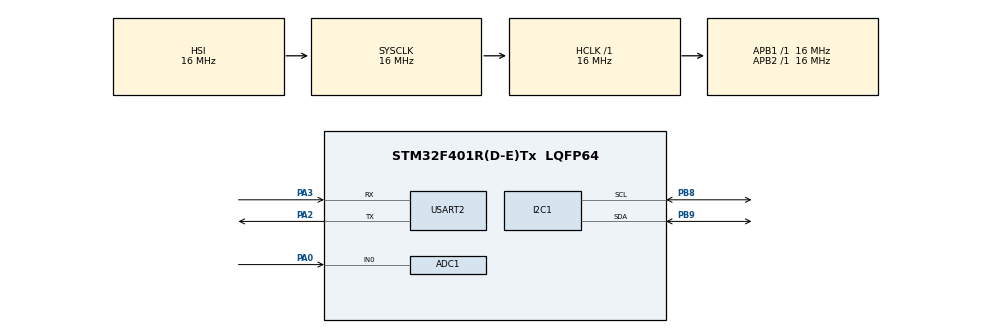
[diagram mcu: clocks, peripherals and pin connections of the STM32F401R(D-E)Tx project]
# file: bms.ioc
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ADC1.Channel-0\#ChannelRegularConversion=ADC_CHANNEL_0
ADC1.NbrOfConversionFlag=1
ADC1.Rank-0\#ChannelRegularConversion=1
ADC1.SamplingTime-0\#ChannelRegularConversion=ADC_SAMPLETIME_3CYCLES
ADC1.master=1
Mcu.Family=STM32F4
Mcu.Name=STM32F401R(D-E)Tx
Mcu.Package=LQFP64
NVIC.PriorityGroup=NVIC_PRIORITYGROUP_4
NVIC.TIM2_IRQn=true\:0\:0\:false\:false\:true\:true\:true\:true
PA0-WKUP.Signal=ADCx_IN0
PA2.Mode=Asynchronous
PA2.Signal=USART2_TX
PA3.Mode=Asynchronous
PA3.Signal=USART2_RX
PB8.Mode=I2C
PB8.Signal=I2C1_SCL
PB9.Mode=I2C
PB9.Signal=I2C1_SDA
ProjectManager.HeapSize=0x200
ProjectManager.StackSize=0x400
ProjectManager.TargetToolchain=STM32CubeIDE
RCC.AHBFreq_Value=16000000
RCC.APB1Freq_Value=16000000
RCC.APB2Freq_Value=16000000
RCC.CortexFreq_Value=16000000
RCC.HSE_VALUE=25000000
RCC.HSI_VALUE=16000000
RCC.LSE_VALUE=32768
RCC.SYSCLKFreq_VALUE=16000000
RCC.VCOOutputFreq_Value=192000000
SH.ADCx_IN0.0=ADC1_IN0,IN0
TIM2.Prescaler=15999
USART2.VirtualMode=VM_ASYNC
VP_TIM2_VS_ClockSourceINT.Mode=Internal
board=custom

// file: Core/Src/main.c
/* USER CODE BEGIN Header */
/**
  ******************************************************************************
  * @file           : main.c
  * @brief          : Main program body - Multi-module BMS with interrupt-driven
  *                    ADC current sensing and flag-based SOC timer updates
  ******************************************************************************
  * @attention
  *
  * Copyright (c) 2026 STMicroelectronics.
  * All rights reserved.
  *
  ******************************************************************************
  */
/* USER CODE END Header */
#include "main.h"

/* USER CODE BEGIN Includes */
#include <string.h>
#include <stdio.h>
/* USER CODE END Includes */

/* USER CODE BEGIN PTD */

/* CHANGE 1: Added __attribute__((packed)) - previously missing here, present
   only on the ATtiny side. This guarantees identical byte layout across the
   ARM and AVR compilers instead of relying on lucky natural alignment. */
typedef struct __attribute__((packed))
{
    uint8_t  start;
    uint8_t  module_id;
    uint16_t cell1_mv;
    uint16_t cell2_mv;
    uint16_t cell3_mv;
    uint16_t temp_x10;
    uint8_t  fault;
    uint8_t  checksum;
} Packet_t;

typedef struct __attribute__((packed))
{
    uint8_t start;
    uint8_t balance_mask;
} BalanceCmd_t;

/* USER CODE END PTD */

/* USER CODE BEGIN PD */

#define NUM_MODULES           2
#define BATTERY_CAPACITY_AH   5.0f
#define BALANCE_THRESHOLD_MV  30
#define SOC_TICK_SECONDS      0.1f   /* must match your actual TIM2 period - see MX_TIM2_Init changes */

/* USER CODE END PD */

ADC_HandleTypeDef hadc1;
I2C_HandleTypeDef hi2c1;
TIM_HandleTypeDef htim2;
UART_HandleTypeDef huart2;

void SystemClock_Config(void);
static void MX_GPIO_Init(void);
static void MX_I2C1_Init(void);
static void MX_USART2_UART_Init(void);
static void MX_ADC1_Init(void);
static void MX_TIM2_Init(void);

/* USER CODE BEGIN PFP */

uint8_t CalculateChecksum(uint8_t *data, uint16_t len)
{
    uint8_t sum = 0;
    for (uint16_t i = 0; i < len; i++)
    {
        sum += data[i];
    }
    return sum;
}

/* CHANGE 6: GetBalanceMask now takes the pre-computed GLOBAL minimum across
   every module, not this module's own local minimum. This fixes the bug
   where a module could look "internally balanced" while being pack-wide
   out of balance relative to other modules. */
uint8_t GetBalanceMask(Packet_t *pkt, uint16_t globalMin)
{
    uint8_t mask = 0;

    if ((pkt->cell1_mv - globalMin) > BALANCE_THRESHOLD_MV)
        mask |= 0x01;

    if ((pkt->cell2_mv - globalMin) > BALANCE_THRESHOLD_MV)
        mask |= 0x02;

    if ((pkt->cell3_mv - globalMin) > BALANCE_THRESHOLD_MV)
        mask |= 0x04;

    return mask;
}

/* USER CODE END PFP */

/* USER CODE BEGIN 0 */

/* CHANGE 2: Arrays instead of single globals, one slot per module. */
uint8_t   moduleAddrs[NUM_MODULES] = {0x10, 0x11};
Packet_t  modulePackets[NUM_MODULES];
uint8_t   moduleValid[NUM_MODULES];

BalanceCmd_t txCmd;
char msg[100];

float batteryCurrent = 0.0f;

/* TODO: soc should be loaded from flash at boot instead of hardcoded 100.0f -
   see our earlier discussion on SOC persistence. Not implemented in this pass;
   flagging so it isn't forgotten. */
float soc = 100.0f;

/* CHANGE 2 (cont): flag/counter for deferred SOC processing, set only inside
   the timer ISR, consumed in the main loop. MUST be volatile - written in an
   ISR, read in main(). */
volatile uint32_t socTickCount = 0;

/* CHANGE 5: ADC interrupt-driven state. Both MUST be volatile for the same
   reason as socTickCount - written in HAL_ADC_ConvCpltCallback (ISR context),
   read in the main loop. */
volatile uint8_t  adcReady = 0;
volatile uint16_t latestAdcValue = 0;

/* USER CODE END 0 */

int main(void)
{

  /* MCU Configuration--------------------------------------------------------*/
  HAL_Init();

  /* CHANGE 3: Removed the premature MX_TIM2_Init() + HAL_TIM_Base_Start_IT()
     pair that used to run here, BEFORE SystemClock_Config(). Starting a timer
     before the clock tree is configured means its prescaler/period math runs
     against the wrong (default/reset) clock speed. The timer is now
     initialized and started only once, after the clock is correctly set up
     and every other peripheral is ready - see below. */

  /* Configure the system clock */
  SystemClock_Config();

  /* Initialize all configured peripherals */
  MX_GPIO_Init();
  MX_I2C1_Init();
  MX_USART2_UART_Init();
  MX_ADC1_Init();
  MX_TIM2_Init();

  /* USER CODE BEGIN 2 */

  /* Timer started once, after clocks + all peripherals are correctly configured. */
  HAL_TIM_Base_Start_IT(&htim2);

  /* CHANGE 3 (cont): ADC armed once here - this is the "prime the pump" call.
     Single-conversion mode (ContinuousConvMode stays DISABLE in
     MX_ADC1_Init), software-triggered, interrupt-driven completion. The next
     conversion is only re-armed manually, from inside the main loop, after
     each result is consumed - see the adcReady block below. */
  HAL_ADC_Start_IT(&hadc1);

  /* USER CODE END 2 */

  /* Infinite loop */
  while (1)
  {

    /* ============================================================
       ADC: non-blocking. Only does work when a conversion has
       actually completed (adcReady set by the ISR). Re-arms the
       next conversion right after consuming the result - never
       called unconditionally, since the ADC must finish its
       current conversion before Start_IT() can safely be called
       again in single-conversion mode.
       ============================================================ */
    if (adcReady)
    {
        adcReady = 0;

        float voltage = (latestAdcValue * 3.3f) / 4095.0f;
        batteryCurrent = voltage / 0.01f;   /* shunt + INA180 gain bundled into this constant */

        HAL_ADC_Start_IT(&hadc1);   /* re-arm next conversion */
    }

    /* ============================================================
       I2C: PHASE 1 - GATHER
       Poll every module before deciding anything. Stays blocking -
       this is a deliberate choice, not an oversight: the loop's
       control flow is inherently sequential (need data from all
       modules before a balancing decision can be made), so
       interrupt-driving I2C here would require a state machine for
       no real benefit at this module count / loop rate.
       ============================================================ */
    for (uint8_t i = 0; i < NUM_MODULES; i++)
    {
        uint8_t buf[sizeof(Packet_t)];

        HAL_StatusTypeDef status = HAL_I2C_Master_Receive(
            &hi2c1,
            (moduleAddrs[i] << 1),
            buf,
            sizeof(Packet_t),
            100);

        if (status == HAL_OK)
        {
            Packet_t temp;
            memcpy(&temp, buf, sizeof(Packet_t));

            uint8_t crc = CalculateChecksum(buf, sizeof(Packet_t) - 1);

            if (crc == temp.checksum)
            {
                modulePackets[i] = temp;
                moduleValid[i] = 1;

                sprintf(msg, "M%d: ID=%d C1=%dmV C2=%dmV C3=%dmV Temp=%d\r\n",
                        i,
                        temp.module_id,
                        temp.cell1_mv,
                        temp.cell2_mv,
                        temp.cell3_mv,
                        temp.temp_x10);
                HAL_UART_Transmit(&huart2, (uint8_t*)msg, strlen(msg), 100);
            }
            else
            {
                moduleValid[i] = 0;   /* checksum mismatch - don't trust this round's data */
            }
        }
        else
        {
            moduleValid[i] = 0;   /* no response / timeout - don't trust this round's data */
        }
    }

    /* ============================================================
       PHASE 2 - DECIDE
       Find the true global minimum cell voltage across every
       module that reported valid data this round. This is the fix
       for the "each module only compares against its own local
       minimum" bug - without this, uniformly-high modules would
       never balance even if genuinely high relative to the pack.
       ============================================================ */
    uint16_t globalMin = 0xFFFF;
    uint8_t anyValid = 0;

    for (uint8_t i = 0; i < NUM_MODULES; i++)
    {
        if (!moduleValid[i]) continue;

        anyValid = 1;

        if (modulePackets[i].cell1_mv < globalMin) globalMin = modulePackets[i].cell1_mv;
        if (modulePackets[i].cell2_mv < globalMin) globalMin = modulePackets[i].cell2_mv;
        if (modulePackets[i].cell3_mv < globalMin) globalMin = modulePackets[i].cell3_mv;
    }

    /* ============================================================
       PHASE 3 - COMMAND
       Send each module its mask relative to the global minimum.
       Fail-safe: any module whose data wasn't valid this round
       gets mask = 0 (no balancing) rather than acting on stale or
       untrusted data - this fixes the original bug where
       GetBalanceMask ran unconditionally every loop regardless of
       I2C/checksum status.
       ============================================================ */
    for (uint8_t i = 0; i < NUM_MODULES; i++)
    {
        uint8_t mask = 0;

        if (anyValid && moduleValid[i])
        {
            mask = GetBalanceMask(&modulePackets[i], globalMin);
        }

        txCmd.start = 0xAA;
        txCmd.balance_mask = mask;

        HAL_I2C_Master_Transmit(
            &hi2c1,
            (moduleAddrs[i] << 1),
            (uint8_t*)&txCmd,
            sizeof(BalanceCmd_t),
            100);

        sprintf(msg, "M%d: Mask=0x%02X Valid=%d\r\n", i, mask, moduleValid[i]);
        HAL_UART_Transmit(&huart2, (uint8_t*)msg, strlen(msg), 100);
    }

    /* ============================================================
       SOC: deferred processing. The timer ISR only increments
       socTickCount (see HAL_TIM_PeriodElapsedCallback below) - all
       the actual math happens here, in the interruptible main loop.

       Read-and-clear is wrapped in __disable_irq()/__enable_irq()
       to make it atomic: reading socTickCount and clearing it are
       two separate operations, and without this guard a timer tick
       landing exactly between them would be silently lost. This is
       a very short critical section (a few instructions), not a
       long block - safe to briefly disable interrupts here.

       Backlog is collapsed into a single lump-sum calculation
       (ticks * SOC_TICK_SECONDS) using the current instantaneous
       batteryCurrent, rather than a loop of repeated subtraction.
       This assumes current was roughly constant across the backlog
       window - an approximation that's reasonable when backlogs
       are small (expected here, since I2C timeouts are bounded and
       loop time is well under the 100ms tick period in the normal
       case), but degrades if backlogs grow large. A more precise
       fix would snapshot batteryCurrent per-tick inside the timer
       ISR itself - not implemented here to keep this at the
       complexity level we agreed on, but worth naming if asked.
       ============================================================ */
    if (socTickCount > 0)
    {
        __disable_irq();
        uint32_t ticks = socTickCount;
        socTickCount = 0;
        __enable_irq();

        soc -= (batteryCurrent * (ticks * SOC_TICK_SECONDS))
               / (BATTERY_CAPACITY_AH * 3600.0f)
               * 100.0f;

        if (soc < 0)   soc = 0;
        if (soc > 100) soc = 100;
    }

    /* CHANGE 7: The mid-loop HAL_Delay(100) has been removed. It's no longer
       needed for SOC timing pacing now that the timer ISR handles that
       independently via socTickCount. Loop cadence is now bounded by the
       I2C transactions' own timeouts (100ms each, times NUM_MODULES reads
       and writes) rather than an explicit delay. If you want a deliberate
       minimum loop period for any other reason (e.g. rate-limiting UART
       traffic), reintroduce a non-blocking millis()-style check here rather
       than a blocking HAL_Delay. */

  }
}

void SystemClock_Config(void)
{
  RCC_OscInitTypeDef RCC_OscInitStruct = {0};
  RCC_ClkInitTypeDef RCC_ClkInitStruct = {0};

  __HAL_RCC_PWR_CLK_ENABLE();
  __HAL_PWR_VOLTAGESCALING_CONFIG(PWR_REGULATOR_VOLTAGE_SCALE2);

  RCC_OscInitStruct.OscillatorType = RCC_OSCILLATORTYPE_HSI;
  RCC_OscInitStruct.HSIState = RCC_HSI_ON;
  RCC_OscInitStruct.HSICalibrationValue = RCC_HSICALIBRATION_DEFAULT;
  RCC_OscInitStruct.PLL.PLLState = RCC_PLL_NONE;
  if (HAL_RCC_OscConfig(&RCC_OscInitStruct) != HAL_OK)
  {
    Error_Handler();
  }

  RCC_ClkInitStruct.ClockType = RCC_CLOCKTYPE_HCLK | RCC_CLOCKTYPE_SYSCLK
                              | RCC_CLOCKTYPE_PCLK1 | RCC_CLOCKTYPE_PCLK2;
  RCC_ClkInitStruct.SYSCLKSource = RCC_SYSCLKSOURCE_HSI;
  RCC_ClkInitStruct.AHBCLKDivider = RCC_SYSCLK_DIV1;
  RCC_ClkInitStruct.APB1CLKDivider = RCC_HCLK_DIV1;
  RCC_ClkInitStruct.APB2CLKDivider = RCC_HCLK_DIV1;

  if (HAL_RCC_ClockConfig(&RCC_ClkInitStruct, FLASH_LATENCY_0) != HAL_OK)
  {
    Error_Handler();
  }
}

static void MX_ADC1_Init(void)
{
  ADC_ChannelConfTypeDef sConfig = {0};

  hadc1.Instance = ADC1;
  hadc1.Init.ClockPrescaler = ADC_CLOCK_SYNC_PCLK_DIV2;
  hadc1.Init.Resolution = ADC_RESOLUTION_12B;
  hadc1.Init.ScanConvMode = DISABLE;

  /* CHANGE 5 (cont): ContinuousConvMode stays DISABLE - deliberately kept as
     single-conversion mode. Continuous mode would make the ADC free-run and
     fire interrupts as fast as hardware allows, far faster than this ~10Hz
     current-sense use case needs. Single-conversion + manual re-arm from the
     main loop naturally paces sampling to match loop cadence instead. */
  hadc1.Init.ContinuousConvMode = DISABLE;
  hadc1.Init.DiscontinuousConvMode = DISABLE;
  hadc1.Init.ExternalTrigConvEdge = ADC_EXTERNALTRIGCONVEDGE_NONE;
  hadc1.Init.ExternalTrigConv = ADC_SOFTWARE_START;
  hadc1.Init.DataAlign = ADC_DATAALIGN_RIGHT;
  hadc1.Init.NbrOfConversion = 1;
  hadc1.Init.DMAContinuousRequests = DISABLE;
  hadc1.Init.EOCSelection = ADC_EOC_SINGLE_CONV;
  if (HAL_ADC_Init(&hadc1) != HAL_OK)
  {
    Error_Handler();
  }

  sConfig.Channel = ADC_CHANNEL_0;
  sConfig.Rank = 1;
  sConfig.SamplingTime = ADC_SAMPLETIME_3CYCLES;
  if (HAL_ADC_ConfigChannel(&hadc1, &sConfig) != HAL_OK)
  {
    Error_Handler();
  }
}

static void MX_I2C1_Init(void)
{
  hi2c1.Instance = I2C1;
  hi2c1.Init.ClockSpeed = 100000;
  hi2c1.Init.DutyCycle = I2C_DUTYCYCLE_2;
  hi2c1.Init.OwnAddress1 = 0;
  hi2c1.Init.AddressingMode = I2C_ADDRESSINGMODE_7BIT;
  hi2c1.Init.DualAddressMode = I2C_DUALADDRESS_DISABLE;
  hi2c1.Init.OwnAddress2 = 0;
  hi2c1.Init.GeneralCallMode = I2C_GENERALCALL_DISABLE;
  hi2c1.Init.NoStretchMode = I2C_NOSTRETCH_DISABLE;
  if (HAL_I2C_Init(&hi2c1) != HAL_OK)
  {
    Error_Handler();
  }
}

static void MX_TIM2_Init(void)
{
  TIM_ClockConfigTypeDef sClockSourceConfig = {0};
  TIM_MasterConfigTypeDef sMasterConfig = {0};

  htim2.Instance = TIM2;
  htim2.Init.Prescaler = 15999;
  htim2.Init.CounterMode = TIM_COUNTERMODE_UP;

  /* CHANGE 4: Period changed from 4294967295 (max uint32 - effectively never
     overflows, meaning HAL_TIM_PeriodElapsedCallback essentially never fired)
     to 99, which - combined with the Prescaler above - produces a real
     100ms overflow period.

     Math: assuming a 16MHz timer input clock (verify this against YOUR
     actual SystemClock_Config output - APB1 timer clock specifically),
     Prescaler=15999 means the counter increments at
     16,000,000 / (15999+1) = 1000 Hz, i.e. once per millisecond.
     Period=99 means it counts 0..99 (100 counts) before overflowing,
     so it overflows every 100 x 1ms = 100ms - matching SOC_TICK_SECONDS
     above. If your actual timer clock differs, recalculate Period
     accordingly: Period = (TimerClockHz / (Prescaler+1)) * SOC_TICK_SECONDS - 1 */
  htim2.Init.Period = 99;

  htim2.Init.ClockDivision = TIM_CLOCKDIVISION_DIV1;
  htim2.Init.AutoReloadPreload = TIM_AUTORELOAD_PRELOAD_DISABLE;
  if (HAL_TIM_Base_Init(&htim2) != HAL_OK)
  {
    Error_Handler();
  }
  sClockSourceConfig.ClockSource = TIM_CLOCKSOURCE_INTERNAL;
  if (HAL_TIM_ConfigClockSource(&htim2, &sClockSourceConfig) != HAL_OK)
  {
    Error_Handler();
  }
  sMasterConfig.MasterOutputTrigger = TIM_TRGO_RESET;
  sMasterConfig.MasterSlaveMode = TIM_MASTERSLAVEMODE_DISABLE;
  if (HAL_TIMEx_MasterConfigSynchronization(&htim2, &sMasterConfig) != HAL_OK)
  {
    Error_Handler();
  }
}

static void MX_USART2_UART_Init(void)
{
  huart2.Instance = USART2;
  huart2.Init.BaudRate = 115200;
  huart2.Init.WordLength = UART_WORDLENGTH_8B;
  huart2.Init.StopBits = UART_STOPBITS_1;
  huart2.Init.Parity = UART_PARITY_NONE;
  huart2.Init.Mode = UART_MODE_TX_RX;
  huart2.Init.HwFlowCtl = UART_HWCONTROL_NONE;
  huart2.Init.OverSampling = UART_OVERSAMPLING_16;
  if (HAL_UART_Init(&huart2) != HAL_OK)
  {
    Error_Handler();
  }
}

static void MX_GPIO_Init(void)
{
  __HAL_RCC_GPIOA_CLK_ENABLE();
  __HAL_RCC_GPIOB_CLK_ENABLE();
}

/* USER CODE BEGIN 4 */

/* CHANGE 4 (cont): Timer ISR now only sets a flag/counter - no math happens
   here. Keeps the ISR as short as possible, per the "deferred processing"
   pattern - actual SOC calculation runs in the main loop where it can be
   interrupted by anything more time-critical (I2C, ADC). */
void HAL_TIM_PeriodElapsedCallback(TIM_HandleTypeDef *htim)
{
    if (htim->Instance == TIM2)
    {
        socTickCount++;
    }
}

/* CHANGE 5 (cont): New ISR - fires automatically when an ADC conversion
   started via HAL_ADC_Start_IT() completes. Only stores the raw result and
   sets a flag; the voltage/current conversion math happens in the main loop,
   same deferred-processing reasoning as the timer ISR above. */
void HAL_ADC_ConvCpltCallback(ADC_HandleTypeDef *hadc)
{
    if (hadc->Instance == ADC1)
    {
        latestAdcValue = HAL_ADC_GetValue(hadc);
        adcReady = 1;
    }
}

/* USER CODE END 4 */

void Error_Handler(void)
{
  __disable_irq();
  while (1)
  {
  }
}
